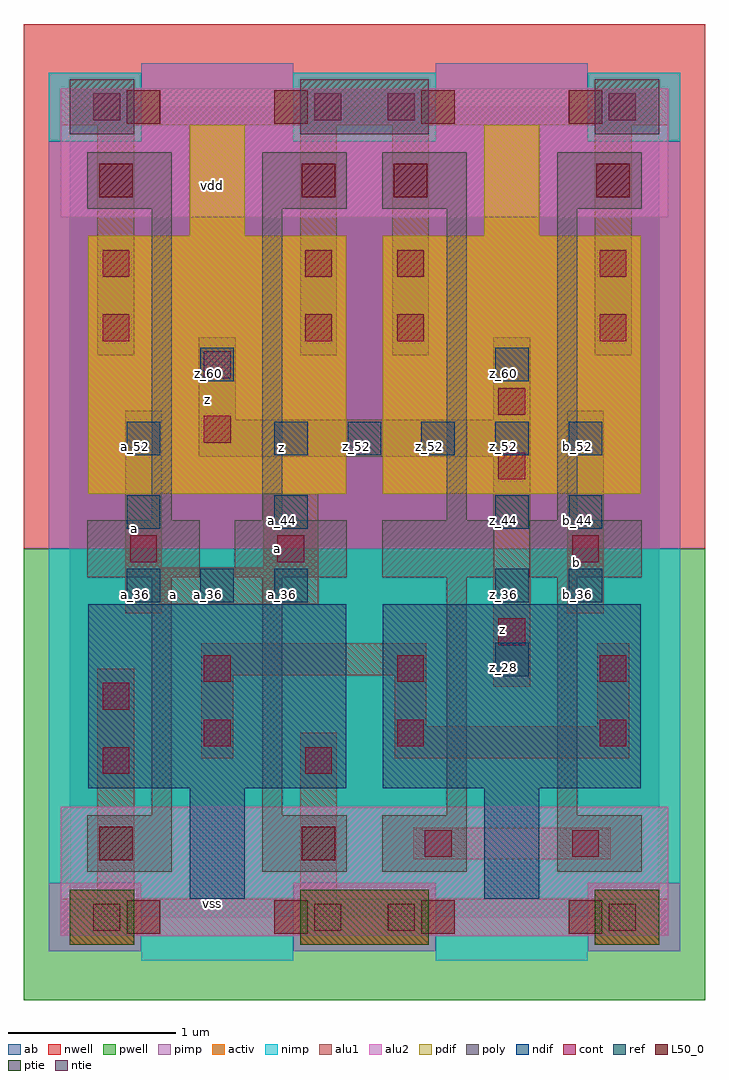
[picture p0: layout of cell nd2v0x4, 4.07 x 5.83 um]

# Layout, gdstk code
import gdstk
lib = gdstk.Library(unit=1e-6, precision=2.5e-09)
def R(c, l, rs):  # rectangles x0, y0, x1, y1
    for r in rs: c.add(gdstk.rectangle(r[:2], r[2:], *l))
def A(c, l, x, y, w, h, nx, ny, dx, dy):  # array of equal rectangles
    R(c, l, [(x+i*dx, y+j*dy, x+i*dx+w, y+j*dy+h) for i in range(nx) for j in range(ny)])
ndif = (3, 0)
pdif = (4, 0)
ntie = (5, 0)
ptie = (6, 0)
ref = (24, 0)
cont = (25, 0)
pwell = (41, 0)
nwell = (42, 0)
activ = (43, 0)
pimp = (44, 0)
nimp = (45, 0)
poly = (46, 0)
alu1 = (49, 0)
L50_0 = (50, 0)
alu2 = (51, 0)
ab = (63, 0)

nd2v0x4 = lib.new_cell('nd2v0x4')
R(nd2v0x4, ndif, [(0.715,0.11,1.045,0.77), (2.475,0.11,2.805,0.77), (0.11,0.77,1.65,1.87), (1.87,0.77,3.41,1.87)])
R(nd2v0x4, pdif, [(0.11,2.53,1.65,4.07), (1.87,2.53,3.41,4.07), (0.715,4.07,1.045,4.73), (2.475,4.07,2.805,4.73)])
R(nd2v0x4, ntie, [(0,4.675,0.385,5.005), (1.375,4.675,2.145,5.005), (3.135,4.675,3.52,5.005)])
R(nd2v0x4, ptie, [(0,-0.165,0.385,0.165), (1.375,-0.165,2.145,0.165), (3.135,-0.165,3.52,0.165)])
A(nd2v0x4, ref, 2.54, 1.44, 0.2, 0.2, 1, 3, 0, 0.44)
A(nd2v0x4, ref, 0.34, 1.88, 0.2, 0.2, 3, 1, 0.44, 0)
A(nd2v0x4, ref, 1.22, 2.76, 0.2, 0.2, 5, 1, 0.44, 0)
R(nd2v0x4, ref, [(2.98,1.88,3.18,2.08), (0.34,2.32,0.54,2.52), (1.22,2.32,1.42,2.52), (2.98,2.32,3.18,2.52), (0.34,2.76,0.54,2.96), (0.78,3.2,0.98,3.4), (2.54,3.2,2.74,3.4)])
R(nd2v0x4, cont, [(0.14,-0.08,0.3,0.08), (1.46,-0.08,1.62,0.08), (1.9,-0.08,2.06,0.08), (3.22,-0.08,3.38,0.08), (2.12,0.36,2.28,0.52), (3,0.36,3.16,0.52), (0.195,0.855,0.355,1.015), (1.405,0.855,1.565,1.015), (0.8,1.02,0.96,1.18), (1.955,1.02,2.115,1.18), (3.165,1.02,3.325,1.18), (0.195,1.24,0.355,1.4), (0.8,1.405,0.96,1.565), (1.955,1.405,2.115,1.565), (3.165,1.405,3.325,1.565), (2.56,1.625,2.72,1.785), (0.36,2.12,0.52,2.28), (1.24,2.12,1.4,2.28), (3,2.12,3.16,2.28), (2.56,2.615,2.72,2.775), (0.8,2.835,0.96,2.995), (2.56,3,2.72,3.16), (0.8,3.22,0.96,3.38), (0.195,3.44,0.355,3.6), (1.405,3.44,1.565,3.6), (1.955,3.44,2.115,3.6), (3.165,3.44,3.325,3.6), (0.195,3.825,0.355,3.985), (1.405,3.825,1.565,3.985), (1.955,3.825,2.115,3.985), (3.165,3.825,3.325,3.985), (0.14,4.76,0.3,4.92), (1.46,4.76,1.62,4.92), (1.9,4.76,2.06,4.92), (3.22,4.76,3.38,4.92)])
R(nd2v0x4, pwell, [(-0.275,-0.495,3.795,2.2)])
R(nd2v0x4, nwell, [(-0.275,2.2,3.795,5.335)])
R(nd2v0x4, activ, [(0,-0.165,0.385,0.165), (1.375,-0.165,2.145,0.165), (3.135,-0.165,3.52,0.165), (0.715,0.11,1.045,0.77), (2.475,0.11,2.805,0.77), (0.11,0.77,1.65,1.87), (1.87,0.77,3.41,1.87), (0.11,2.53,1.65,4.07), (1.87,2.53,3.41,4.07), (0.715,4.07,1.045,4.73), (2.475,4.07,2.805,4.73), (0,4.675,0.385,5.005), (1.375,4.675,2.145,5.005), (3.135,4.675,3.52,5.005)])
R(nd2v0x4, pimp, [(-0.125,-0.205,0.425,0.205), (1.335,-0.205,2.185,0.205), (3.095,-0.205,3.645,0.205), (-0.125,2.2,3.645,4.635), (0.425,4.635,1.335,5.1), (2.185,4.635,3.095,5.1)])
R(nd2v0x4, nimp, [(0.425,-0.26,1.335,0.205), (2.185,-0.26,3.095,0.205), (-0.125,0.205,3.645,2.2), (-0.125,4.635,0.425,5.045), (1.335,4.635,2.185,5.045), (3.095,4.635,3.645,5.045)])
A(nd2v0x4, poly, 0.105, 2.03, 0.67, 0.34, 4, 1, 0.88, 0)
R(nd2v0x4, poly, [(0.105,0.27,0.61,0.61), (1.15,0.27,1.655,0.61), (1.865,0.27,2.37,0.61), (2.91,0.27,3.415,0.61), (0.49,0.61,0.61,2.03), (1.15,0.61,1.27,2.03), (2.25,0.61,2.37,2.03), (2.91,0.61,3.03,2.03), (0.49,2.37,0.61,4.23), (1.15,2.37,1.27,4.23), (2.25,2.37,2.37,4.23), (2.91,2.37,3.03,4.23), (0.105,4.23,0.61,4.57), (1.15,4.23,1.655,4.57), (1.865,4.23,2.37,4.57), (2.91,4.23,3.415,4.57)])
R(nd2v0x4, alu1, [(-0.055,-0.11,3.575,0.11), (0.165,0.11,0.385,1.485), (1.375,0.11,1.595,1.1), (2.05,0.345,3.23,0.535), (0.785,0.95,0.975,1.445), (1.94,0.95,3.34,1.14), (1.94,1.14,2.13,1.445), (3.15,1.14,3.34,1.635), (2.53,1.375,2.75,2.75), (0.785,1.445,2.13,1.635), (0.33,1.815,0.55,1.87), (2.97,1.815,3.19,3.025), (0.33,1.87,1.485,2.09), (0.33,2.09,0.55,3.025), (1.155,2.09,1.485,2.53), (0.77,2.75,2.75,2.97), (0.77,2.97,0.99,3.465), (2.53,2.97,2.75,3.465), (0.165,3.355,0.385,4.73), (1.375,3.355,1.595,4.73), (1.925,3.355,2.145,4.73), (3.135,3.355,3.355,4.73), (-0.055,4.73,3.575,4.95)])
A(nd2v0x4, L50_0, 0.34, -0.1, 0.2, 0.2, 4, 2, 0.88, 4.84)
R(nd2v0x4, L50_0, [(0.175,0.34,0.375,0.54), (1.385,0.34,1.585,0.54), (0.175,4.3,0.375,4.5), (1.385,4.3,1.585,4.5), (1.935,4.3,2.135,4.5), (3.145,4.3,3.345,4.5)])
R(nd2v0x4, alu2, [(-0.055,-0.11,3.575,0.66), (-0.055,4.18,3.575,4.95)])
R(nd2v0x4, ab, [(0,0,3.52,4.84)])
nd2v0x4.add(gdstk.Label('b', (3.025,2.1175), layer=49, texttype=0))
nd2v0x4.add(gdstk.Label('z', (2.585,1.7175), layer=49, texttype=0))
nd2v0x4.add(gdstk.Label('a', (0.6175,1.925), layer=49, texttype=0))
nd2v0x4.add(gdstk.Label('a', (1.2375,2.2), layer=49, texttype=0))
nd2v0x4.add(gdstk.Label('z', (1.265,2.805), layer=49, texttype=0))
nd2v0x4.add(gdstk.Label('z', (0.825,3.0925), layer=49, texttype=0))
nd2v0x4.add(gdstk.Label('a', (0.385,2.3225), layer=49, texttype=0))
nd2v0x4.add(gdstk.Label('vss', (0.8525,0.0825), layer=51, texttype=0))
nd2v0x4.add(gdstk.Label('vdd', (0.8525,4.3725), layer=51, texttype=0))
nd2v0x4.add(gdstk.Label('a_36', (1.27,1.93), layer=24, texttype=0))
nd2v0x4.add(gdstk.Label('a_36', (0.83,1.93), layer=24, texttype=0))
nd2v0x4.add(gdstk.Label('a_44', (0.39,2.37), layer=24, texttype=0))
nd2v0x4.add(gdstk.Label('b_52', (3.03,2.81), layer=24, texttype=0))
nd2v0x4.add(gdstk.Label('a_52', (0.39,2.81), layer=24, texttype=0))
nd2v0x4.add(gdstk.Label('b_44', (3.03,2.37), layer=24, texttype=0))
nd2v0x4.add(gdstk.Label('a_44', (1.27,2.37), layer=24, texttype=0))
nd2v0x4.add(gdstk.Label('b_36', (3.03,1.93), layer=24, texttype=0))
nd2v0x4.add(gdstk.Label('z_52', (1.27,2.81), layer=24, texttype=0))
nd2v0x4.add(gdstk.Label('z_52', (1.71,2.81), layer=24, texttype=0))
nd2v0x4.add(gdstk.Label('z_52', (2.15,2.81), layer=24, texttype=0))
nd2v0x4.add(gdstk.Label('z_44', (2.59,2.37), layer=24, texttype=0))
nd2v0x4.add(gdstk.Label('z_36', (2.59,1.93), layer=24, texttype=0))
nd2v0x4.add(gdstk.Label('z_28', (2.59,1.49), layer=24, texttype=0))
nd2v0x4.add(gdstk.Label('z_60', (0.83,3.25), layer=24, texttype=0))
nd2v0x4.add(gdstk.Label('z_60', (2.59,3.25), layer=24, texttype=0))
nd2v0x4.add(gdstk.Label('z_52', (2.59,2.81), layer=24, texttype=0))
nd2v0x4.add(gdstk.Label('a_36', (0.39,1.93), layer=24, texttype=0))

lib.write_gds('nd2v0x4.gds')
